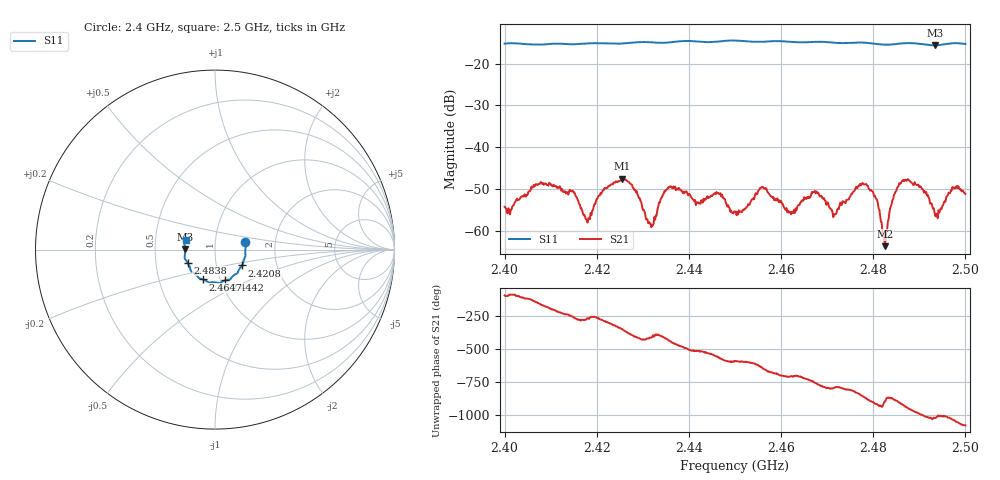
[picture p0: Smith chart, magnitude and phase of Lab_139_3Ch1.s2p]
# Hz S RI R 50
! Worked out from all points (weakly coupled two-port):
!   601 points, 2.4 GHz to 2.5 GHz, reference 50 ohm
!   highest |S21| = -47.50 dB at 2.4255 GHz (marker M1); lowest = -63.7 dB at 2.4825 GHz (marker M2)
!   lowest |S11| = -15.6 dB at 2.4935 GHz (marker M3), VSWR 1.40, Z = 35.8 + j0.201 ohm
!   |S11| at or under -10 dB: start of sweep to end of sweep
!   S12 and S22 are empty: the file has one direction only
!   S11 on the Smith chart (normalised r, x): 2.4 GHz: 1.40, +0.12; 2.4208 GHz: 1.33, -0.24; 2.4442 GHz: 1.05, -0.37; 2.4647 GHz: 0.83, -0.29; 2.4838 GHz: 0.73, -0.11; 2.5 GHz: 0.72, +0.08
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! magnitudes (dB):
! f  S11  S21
! 2.4 GHz  -15.2  -54.3
! 2.4083 GHz  -15.4  -48.6
! 2.4167 GHz  -15.3  -54.6
! 2.4208 GHz  -15.1  -50.9
! 2.4255 GHz  -15.2  -47.5
! 2.4317 GHz  -14.9  -58.3
! 2.4333 GHz  -15.0  -54.2
! 2.4358 GHz  -14.9  -49.5
! 2.4442 GHz  -14.9  -52.2
! 2.45 GHz  -14.5  -55.4
! 2.4558 GHz  -14.8  -49.5
! 2.4618 GHz  -14.8  -55.4
! 2.4647 GHz  -14.9  -52.7
! 2.4667 GHz  -14.8  -50.7
! 2.4717 GHz  -15.0  -56.0
! 2.4783 GHz  -15.0  -48.9
! 2.4825 GHz  -15.5  -63.7
! 2.4833 GHz  -15.5  -57.2
! 2.4838 GHz  -15.5  -54.1
! 2.4873 GHz  -15.1  -47.9
! 2.4935 GHz  -15.6  -56.5
! 2.5 GHz  -15.3  -51.2
